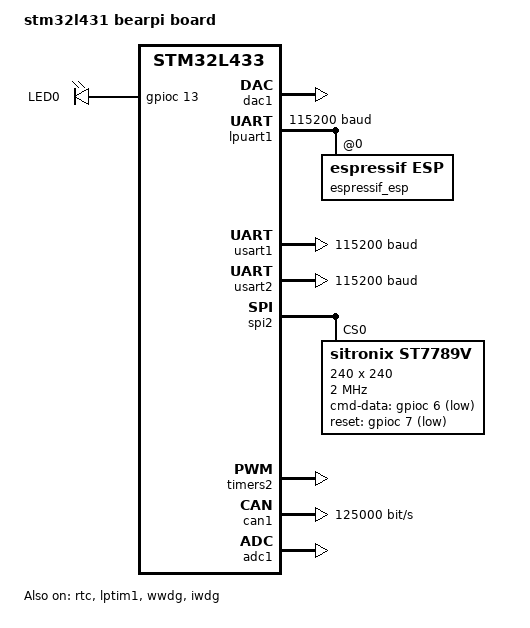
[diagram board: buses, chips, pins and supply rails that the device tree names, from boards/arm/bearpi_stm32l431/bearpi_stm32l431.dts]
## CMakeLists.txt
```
# SPDX-License-Identifier: Apache-2.0

cmake_minimum_required(VERSION 3.13.1)

set(BOARD_ROOT ${CMAKE_CURRENT_LIST_DIR})

set(SOC_ROOT ${CMAKE_CURRENT_LIST_DIR})

set(BOARD bearpi_stm32l431)

find_package(Zephyr HINTS $ENV{ZEPHYR_BASE})
project(ejs)

set(EVM_BASE ${ZEPHYR_BASE}/../../../)


if (EXISTS ${EVM_DEV})
    message(${EVM_DEV})
    set(CMAKE_MODULE_PATH ${EVM_DEV})
    find_package(ejs)
    target_link_libraries(app PRIVATE ejs)
else()
    set(LIBEJS ${EVM_BASE}/lib/arm-none-eabi-gcc/cortex-m4/libejs.a)
    message(${LIBEJS})
    target_link_libraries(app PRIVATE ${LIBEJS})
endif()

set(evm_ecma_sources 
    ${EVM_BASE}/modules/ecma/ecma.c
    ${EVM_BASE}/modules/ecma/ecma_object.c
    ${EVM_BASE}/modules/ecma/ecma_array.c
    ${EVM_BASE}/modules/ecma/ecma_math.c
    ${EVM_BASE}/modules/ecma/ecma_regexp.c
    ${EVM_BASE}/modules/ecma/ecma_number.c
    ${EVM_BASE}/modules/ecma/ecma_string.c
    ${EVM_BASE}/modules/ecma/re.c
)
set(evm_driver_sources 
    ${EVM_BASE}/drivers/zephyr/adc_driver.c 
    ${EVM_BASE}/drivers/zephyr/can_driver.c 
    ${EVM_BASE}/drivers/zephyr/dac_driver.c
    ${EVM_BASE}/drivers/zephyr/flash_driver.c
    ${EVM_BASE}/drivers/zephyr/gpio_driver.c
    ${EVM_BASE}/drivers/zephyr/i2c_driver.c
    ${EVM_BASE}/drivers/zephyr/rtc_driver.c
    ${EVM_BASE}/drivers/zephyr/spi_driver.c
    ${EVM_BASE}/drivers/zephyr/timer_driver.c
    ${EVM_BASE}/drivers/zephyr/uart_driver.c
    ${EVM_BASE}/drivers/zephyr/watchdog_driver.c
    ${EVM_BASE}/drivers/zephyr/pwm_driver.c
    ${EVM_BASE}/drivers/zephyr/sys_driver.c
)

set(evm_modules_sources 
    ${EVM_BASE}/modules/evm/evm_module.c 
    ${EVM_BASE}/modules/evm/evm_module_adc.c 
    ${EVM_BASE}/modules/evm/evm_module_can.c
    ${EVM_BASE}/modules/evm/evm_module_dac.c
    ${EVM_BASE}/modules/evm/evm_module_flash.c
    ${EVM_BASE}/modules/evm/evm_module_i2c.c
    ${EVM_BASE}/modules/evm/evm_module_lcd.c
    ${EVM_BASE}/modules/evm/evm_module_led.c
    ${EVM_BASE}/modules/evm/evm_module_pin.c
    ${EVM_BASE}/modules/evm/evm_module_rtc.c
    ${EVM_BASE}/modules/evm/evm_module_spi.c
    ${EVM_BASE}/modules/evm/evm_module_switch.c
    ${EVM_BASE}/modules/evm/evm_module_timer.c
    ${EVM_BASE}/modules/evm/evm_module_uart.c
    ${EVM_BASE}/modules/evm/evm_module_watchdog.c
    ${EVM_BASE}/modules/evm/evm_module_led.c
    ${EVM_BASE}/modules/evm/evm_module_wifi.c
)

set(libevm_module_sources 
    ${evm_driver_sources}
    ${evm_modules_sources}
    ${evm_ecma_sources}
)

add_definitions("-DQMAKE_TARGET=\"ejs\"")
add_definitions("-DQMAKE_VERSION=\"1.0\"")
remove_definitions("-DWall")

include_directories(app PRIVATE ${EVM_BASE}/include)
include_directories(app PRIVATE ${EVM_BASE}/ejs)
include_directories(app PRIVATE ${EVM_BASE}/modules/ecma)
include_directories(app PRIVATE ${EVM_BASE}/modules/evm)
include_directories(app PRIVATE src)

target_sources(app PRIVATE ${libevm_module_sources})
target_sources(app PRIVATE src/main.c)
target_sources(app PRIVATE ${EVM_BASE}/ejs/evm_main.c)
target_sources(app PRIVATE src/evm_board.c)
target_sources(app PRIVATE ${EVM_BASE}/ejs/uol_output.c)

# evm module config
add_definitions("-DCONFIG_EVM_GPIO")
add_definitions("-DCONFIG_EVM_FLASH")
add_definitions("-DCONFIG_EVM_LCD")
add_definitions("-DCONFIG_EVM_WATCHDOG")
add_definitions("-DCONFIG_EVM_ADC")
add_definitions("-DCONFIG_EVM_DAC")
add_definitions("-DCONFIG_EVM_TIMER")
add_definitions("-DCONFIG_EVM_LED")
add_definitions("-DCONFIG_EVM_SWITCH")
add_definitions("-DCONFIG_EVM_UART")
add_definitions("-DCONFIG_EVM_WIFI")

# ecma module config
add_definitions("-DCONFIG_EVM_ECMA_OBJECT")
add_definitions("-DCONFIG_EVM_ECMA_ARRAY")
```

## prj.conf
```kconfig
# libc config
CONFIG_NEWLIB_LIBC=y

# console config
CONFIG_STDOUT_CONSOLE=y
CONFIG_CONSOLE_SUBSYS=y
CONFIG_CONSOLE_GETCHAR=y
CONFIG_PRINTK=y

# zephyr config
CONFIG_MAIN_STACK_SIZE=4096

# driver config
CONFIG_GPIO=y
CONFIG_FLASH=y
CONFIG_DISPLAY=y
CONFIG_SPI=y
CONFIG_ST7789V=y
CONFIG_ADC=y
CONFIG_ADC_STM32=y
CONFIG_DAC=y
CONFIG_DAC_STM32=y
CONFIG_WATCHDOG=y
CONFIG_WDT_DISABLE_AT_BOOT=y

# filesystem config
CONFIG_DISK_ACCESS=y
CONFIG_DISK_ACCESS_STM32_SDMMC=y

# networking config
CONFIG_NETWORKING=y
CONFIG_NET_IPV4=y
CONFIG_NET_IPV6=n
CONFIG_TEST_RANDOM_GENERATOR=y

# WIFI config
CONFIG_WIFI=y
CONFIG_WIFI_ESP=y 
CONFIG_WIFI_ESP_AT_VERSION_1_7=y
```

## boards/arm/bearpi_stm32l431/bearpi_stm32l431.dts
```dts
/*
 * Copyright (c) 2017 Linaro Limited
 *
 * SPDX-License-Identifier: Apache-2.0
 */

/dts-v1/;
#include <st/l4/stm32l433Xc.dtsi>

/ {
	model = "stm32l431 bearpi board";
	compatible = "st,stm32l433";

	chosen {
		zephyr,console = &usart1;
		zephyr,shell-uart = &usart1;
		zephyr,sram = &sram0;
		zephyr,flash = &flash0;
	};

	leds{
		compatible = "gpio-leds";
		led0: led_0 {
			gpios = <&gpioc 13 GPIO_ACTIVE_HIGH>;
			label = "LED0";
		};
	};

	soc {
		dac1: dac@40007400 {
			compatible = "st,stm32-dac";
			reg = <0x40007400 0x400>;
			clocks = <&rcc STM32_CLOCK_BUS_APB1 0x20000000>;
			status = "disabled";
			label = "DAC_1";
			#io-channel-cells = <1>;
		};

		lpuart1: serial@40008000 {
			compatible = "st,stm32-lpuart", "st,stm32-uart";
			#address-cells = <1>;
			#size-cells = <0>;
			reg = <0x40008000 0x400>;
			clocks = <&rcc STM32_CLOCK_BUS_APB1_2 0x00000001>;
			interrupts = <70 0>;
			status = "disabled";
			label = "LPUART_1";
		};
	};
};

&lpuart1 {
	current-speed = <115200>;
	status = "okay";
	esp@0 {
		status = "okay";
		compatible = "espressif,esp";
		reg = <0x0>;
		label = "espressif_esp";
	};
};

&usart1 {
	current-speed = <115200>;
	status = "okay";
};

&usart2 {
	current-speed = <115200>;
	status = "okay";
};

&spi2 {
	status = "okay";
	st7789v@0 {
		compatible = "sitronix,st7789v";
		label = "ST7789V";
		spi-max-frequency = <2000000>;
		reg = <0>;
		cmd-data-gpios = <&gpioc 6 (GPIO_ACTIVE_LOW)>;	/* D9 */
		reset-gpios = <&gpioc 7 (GPIO_ACTIVE_LOW)>;	/* D8 */
		width = <240>;
		height = <240>;
		x-offset = <0>;
		y-offset = <35>;
		vcom = <0x3D>;
		gctrl = <0x72>;
		vrhs = <0x19>;
		vdvs = <0x20>;
		mdac = <0x00>;
		gamma = <0x01>;
		colmod = <0x65>;
		lcm = <0x2c>;
		porch-param = [0c 0c 00 33 33];
		cmd2en-param = [5a 69 02 00];
		pwctrl1-param = [a4 a1];
		pvgam-param = [D0 04 0D 11 13 2B 3F 54 4C 18 0D 0B 1F 23];
		nvgam-param = [D0 04 0C 11 13 2C 3F 44 51 2F 1F 1F 20 23];
		ram-param = [00 F0];
		rgb-param = [40 02 14];
	};
};

&timers2 {
	status = "okay";

	pwm {
		status = "okay";
	};
};

&can1 {
	bus-speed = <125000>;
	status = "okay";
};

&rtc {
	status = "okay";
};

&lptim1 {
	status = "okay";
};

&adc1 {
	status = "okay";
};

&dac1 {
	status = "okay";
};

&wwdg {
	status = "okay";
};

&iwdg {
	status = "okay";
};
```

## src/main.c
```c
/****************************************************************************
**
** Copyright (C) 2020 @scriptiot
**
**  EVM是一款通用化设计的虚拟机引擎，拥有语法解析前端接口、编译器、虚拟机和虚拟机扩展接口框架。
**  支持js、python、qml、lua等多种脚本语言，纯Ｃ开发，零依赖，内置REPL，支持主流 ROM > 40KB, RAM > 2KB的MCU;
**  自带垃圾回收（GC）先进的内存管理，采用最复杂的压缩算法，无内存碎片（大部分解释器都存在内存碎片）
**  Version	: 1.0
**  Email	: scriptiot@aliyun.com
**  Website	: https://github.com/scriptiot/evm
**            https://gitee.com/scriptiot/evm
**  Licence: Apache-2.0
****************************************************************************/

#include "evm_main.h"

#include <device.h>
#include <drivers/uart.h>
#include <zephyr.h>

void main(void)
{
    evm_main();
}
```

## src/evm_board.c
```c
/****************************************************************************
**
** Copyright (C) 2020 @scriptiot
**
**  EVM是一款通用化设计的虚拟机引擎，拥有语法解析前端接口、编译器、虚拟机和虚拟机扩展接口框架。
**  支持js、python、qml、lua等多种脚本语言，纯Ｃ开发，零依赖，内置REPL，支持主流 ROM > 40KB, RAM > 2KB的MCU;
**  自带垃圾回收（GC）先进的内存管理，采用最复杂的压缩算法，无内存碎片（大部分解释器都存在内存碎片）
**  Version	: 1.0
**  Email	: scriptiot@aliyun.com
**  Website	: https://github.com/scriptiot/evm
**            https://gitee.com/scriptiot/evm
**  Licence: Apache-2.0
****************************************************************************/

#include "evm_board.h"

const struct pin_group ledgroup[] = {
    {"GPIOC", 13, GPIO_OUTPUT},
    {NULL, 0, 0},
};

const struct pin_group keygroup[] = {
    {"GPIOB", 2, GPIO_INPUT | GPIO_INT | GPIO_INT_EDGE | GPIO_INT_ACTIVE_LOW | GPIO_PUD_PULL_UP},
    {"GPIOB", 3, GPIO_INPUT | GPIO_INT | GPIO_INT_EDGE | GPIO_INT_ACTIVE_LOW | GPIO_PUD_PULL_UP},
    {NULL, 0, 0},
};

int evm_board_get_pin_group_size(const pin_group * group){
    int i = 0;
    while( group[i].port != NULL ){
        i++;
    }
    return i;
}
```

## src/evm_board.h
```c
/****************************************************************************
**
** Copyright (C) 2020 @scriptiot
**
**  EVM是一款通用化设计的虚拟机引擎，拥有语法解析前端接口、编译器、虚拟机和虚拟机扩展接口框架。
**  支持js、python、qml、lua等多种脚本语言，纯Ｃ开发，零依赖，内置REPL，支持主流 ROM > 40KB, RAM > 2KB的MCU;
**  自带垃圾回收（GC）先进的内存管理，采用最复杂的压缩算法，无内存碎片（大部分解释器都存在内存碎片）
**  Version	: 1.0
**  Email	: scriptiot@aliyun.com
**  Website	: https://github.com/scriptiot/evm
**            https://gitee.com/scriptiot/evm
**  Licence: Apache-2.0
****************************************************************************/

#ifndef EVM_BOARD_H
#define EVM_BOARD_H

#include <drivers/gpio.h>
#include <drivers/uart.h>

typedef struct pin_group {
	char* port;
    u8_t  pin;
	u32_t mode;
}pin_group;

extern const pin_group ledgroup[];
extern const pin_group keygroup[];

int evm_board_get_pin_group_size(const pin_group * group);

#define CONFIG_EVM_CALLBACK_SIZE              10

#define CONFIG_EVM_GPIO_INPUT                 GPIO_INPUT
#define CONFIG_EVM_GPIO_OUTPUT                GPIO_OUTPUT
#define CONFIG_EVM_GPIO_DISCONNECTED          GPIO_DISCONNECTED
#define CONFIG_EVM_GPIO_INT_ENABLE            GPIO_INT_ENABLE
#define CONFIG_EVM_GPIO_INT_DISABLE           GPIO_INT_DISABLE
#define CONFIG_EVM_GPIO_INT_EDGE_RISING       GPIO_INT_EDGE_RISING
#define CONFIG_EVM_GPIO_INT_EDGE_FALLING      GPIO_INT_EDGE_FALLING
#define CONFIG_EVM_GPIO_INT_EDGE_BOTH         GPIO_INT_EDGE_BOTH
#define CONFIG_EVM_GPIO_PUD_PULL_UP           GPIO_PUD_PULL_UP
#define CONFIG_EVM_GPIO_PUD_PULL_DOWN         GPIO_PUD_PULL_DOWN
#define CONFIG_EVM_GPIO_OPEN_SOURCE           GPIO_OPEN_SOURCE
#define CONFIG_EVM_GPIO_OPEN_DRAIN            GPIO_OPEN_DRAIN


#define CONFIG_EVM_UART_PARITY_NONE           UART_CFG_PARITY_NONE
#define CONFIG_EVM_UART_PARITY_ODD            UART_CFG_PARITY_ODD
#define CONFIG_EVM_UART_PARITY_EVEN           UART_CFG_PARITY_EVEN
#define CONFIG_EVM_UART_STOP_BITS_0_5     UART_CFG_STOP_BITS_0_5
#define CONFIG_EVM_UART_STOP_BITS_1       UART_CFG_STOP_BITS_1
#define CONFIG_EVM_UART_STOP_BITS_1_5     UART_CFG_STOP_BITS_1_5
#define CONFIG_EVM_UART_STOP_BITS_2       UART_CFG_STOP_BITS_2

#define CONFIG_EVM_UART_DATA_BITS_5       UART_CFG_DATA_BITS_5
#define CONFIG_EVM_UART_DATA_BITS_6       UART_CFG_DATA_BITS_6
#define CONFIG_EVM_UART_DATA_BITS_7       UART_CFG_DATA_BITS_7
#define CONFIG_EVM_UART_DATA_BITS_8       UART_CFG_DATA_BITS_8
#define CONFIG_EVM_UART_DATA_BITS_9       UART_CFG_DATA_BITS_9

#endif
```
